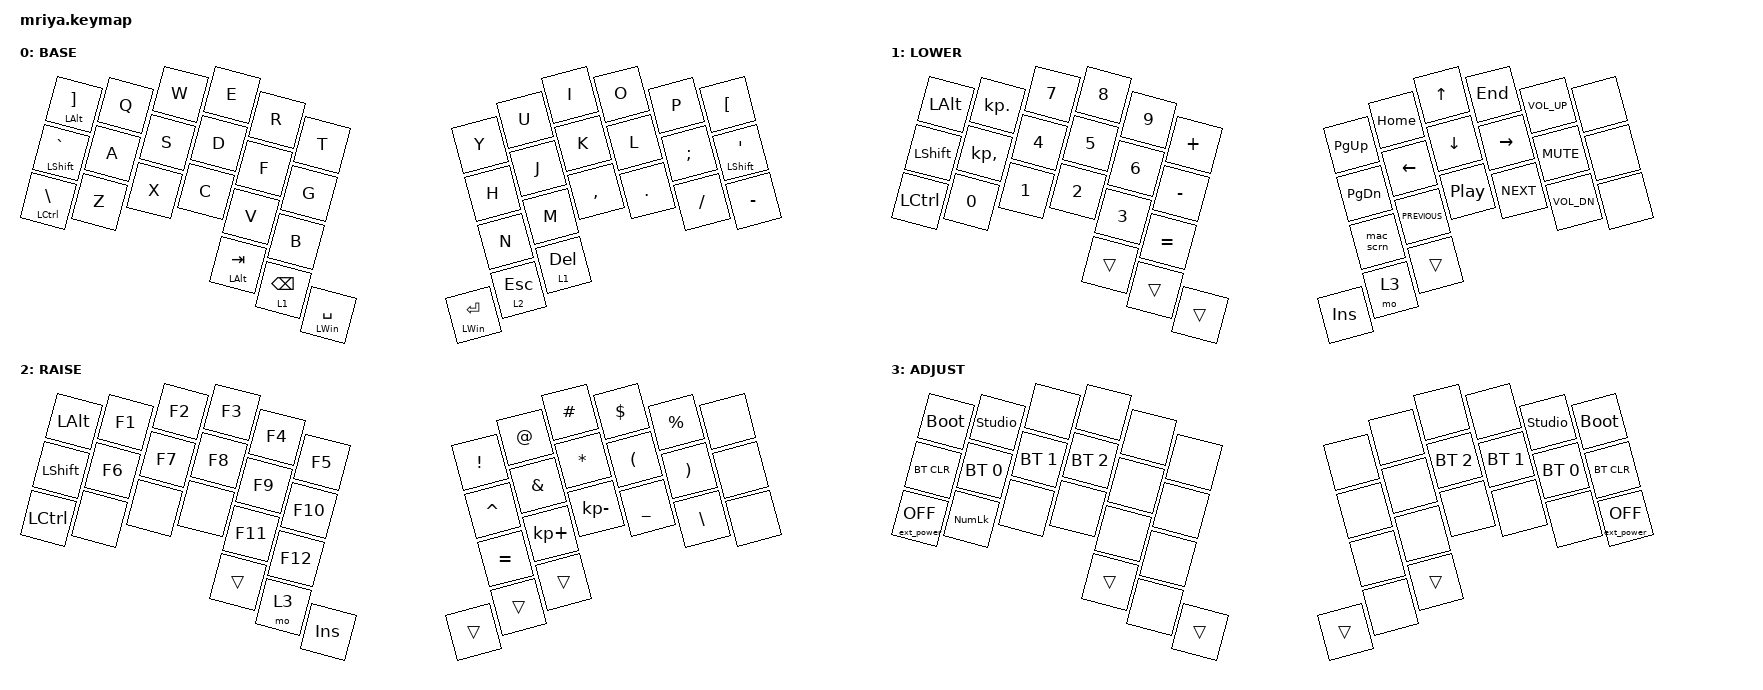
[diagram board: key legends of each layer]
/*
 * Copyright (c) 2020 The ZMK Contributors
 *
 * SPDX-License-Identifier: MIT
 */

#include <behaviors.dtsi>
#include <dt-bindings/zmk/bt.h>
#include <dt-bindings/zmk/ext_power.h>
#include <dt-bindings/zmk/keys.h>

#define BASE   0
#define LOWER  1
#define RAISE  2
#define ADJUST 3

&lt { quick_tap_ms = <220>; };

&mt { quick_tap_ms = <220>; };

/ {
    macros {
        numdot: numdot {
            label = "ZM_numdot";
            compatible = "zmk,behavior-macro";
            #binding-cells = <0>;
            wait-ms = <40>;
            tap-ms = <40>;
            bindings =
                <&macro_press>,
                <&kp LALT>,
                <&macro_tap>,
                <&kp KP_N4 &kp KP_N6>,
                <&macro_release>,
                <&kp LALT>;
        };

        grtsgn: grtsgn {
            label = "ZM_grtsgn";
            compatible = "zmk,behavior-macro";
            #binding-cells = <0>;
            wait-ms = <40>;
            tap-ms = <40>;
            bindings =
                <&macro_press>,
                <&kp LALT>,
                <&macro_tap>,
                <&kp KP_N6 &kp KP_N2>,
                <&macro_release>,
                <&kp LALT>;
        };

        mac_scrn: mac_scrn {
            compatible = "zmk,behavior-macro";
            #binding-cells = <0>;
            bindings =
                <&macro_press>,
                <&kp LS(LEFT_COMMAND)>,
                <&macro_press>,
                <&kp NUMBER_4>,
                <&macro_release>,
                <&kp LS(LEFT_COMMAND)>;

            label = "MAC_SCRN";
        };
    };
};

/ {
    keymap {
        compatible = "zmk,keymap";

        // ▄▄▄▄▄▄▄▄▄▄▄▄▄▄▄▄▄▄▄▄▄▄▄▄▄▄▄▄▄▄▄▄▄▄▄▄▄▄▄▄▄▄▄▄▄▄▄▄▄▄▄▄▄▄▄▄▄▄▄▄▄▄▄▄▄▄▄▄▄▄▄▄▄▄▄▄▄▄▄▄▄▄▄▄▄▄▄▄▄▄▄▄▄▄▄▄▄▄▄▄▄▄▄▄▄▄▄▄▄▄▄▄▄▄

        base_layer {
            // ┌────────────────────────────────────────────┐

            label = "BASE";

            // └────────────────────────────────────────────┘
            /*
┌───────┬───────┬───────┬───────┬───────┬───────┐                   ┌───────┬───────┬───────┬───────┬───────┬───────┐
│ LGUI/]│   Q   │   W   │   E   │   R   │   T   │                   │   Y   │   U   │   I   │   O   │   P   │RGUI/[ │
├───────┼───────┼───────┼───────┼───────┼───────┤                   ├───────┼───────┼───────┼───────┼───────┼───────┤                      
│ CTRL/`│   A   │   S   │   D   │   F   │   G   │                   │   H   │   J   │   K   │   L   │   ;   │RCTRL/'│
├───────┼───────┼───────┼───────┼───────┼───────┤                   ├───────┼───────┼───────┼───────┼───────┼───────┤
│ LALT/\│   Z   │   X   │   C   │   V   │   B   │                   │   N   │   M   │   ,   │   .   │   /   │RALT/- │
└───────┴───────┴───────┴───────┼───────┼───────┼───────┐   ┌───────┼───────┼───────┼───────┴───────┴───────┴───────┘
                                │ RAISE │ SPACE │ LOWER │   │ LOWER │  BKSP │ RAISE │
                                └───────┴───────┴───────┘   └───────┴───────┴───────┘   
*/

            bindings = <
&mt LEFT_ALT RBKT      &kp Q  &kp W  &kp E  &kp R             &kp T                                                    &kp Y         &kp U         &kp I      &kp O    &kp P     &kp LEFT_BRACKET
&mt LEFT_SHIFT GRAVE   &kp A  &kp S  &kp D  &kp F             &kp G                                                    &kp H         &kp J         &kp K      &kp L    &kp SEMI  &mt LEFT_SHIFT SQT
&mt LEFT_CONTROL BSLH  &kp Z  &kp X  &kp C  &kp V             &kp B                                                    &kp N         &kp M         &kp COMMA  &kp DOT  &kp FSLH  &kp MINUS
                                            &mt LEFT_ALT TAB  &lt 1 BACKSPACE  &mt LEFT_WIN SPACE  &mt LEFT_WIN ENTER  &lt 2 ESCAPE  &lt 1 DELETE
            >;
        };

        // ▄▄▄▄▄▄▄▄▄▄▄▄▄▄▄▄▄▄▄▄▄▄▄▄▄▄▄▄▄▄▄▄▄▄▄▄▄▄▄▄▄▄▄▄▄▄▄▄▄▄▄▄▄▄▄▄▄▄▄▄▄▄▄▄▄▄▄▄▄▄▄▄▄▄▄▄▄▄▄▄▄▄▄▄▄▄▄▄▄▄▄▄▄▄▄▄▄▄▄▄▄▄▄▄▄▄▄▄▄▄▄▄▄▄

        lower_layer {
            // ┌────────────────────────────────────────────┐

            label = "LOWER";

            // └────────────────────────────────────────────┘
            /*
┌───────┬───────┬───────┬───────┬───────┬───────┐                   ┌───────┬───────┬───────┬───────┬───────┬───────┐
│ CAPS  │  F10  │  F9   │  F8   │  F7   │   ~   │                   │   !   │   @   │   #   │   $   │   %   │ RGUI  │
├───────┼───────┼───────┼───────┼───────┼───────┤                   ├───────┼───────┼───────┼───────┼───────┼───────┤                      
│ CTRL  │  F11  │  F3   │  F2   │  F1   │ MENU  │                   │   :   │   ?   │   *   │   (   │   )   │   &   │
├───────┼───────┼───────┼───────┼───────┼───────┤                   ├───────┼───────┼───────┼───────┼───────┼───────┤
│ LALT  │  F12  │  F6   │  F5   │  F4   │ LANG  │                   │   "   │   «   │   »   │   {   │   }   │   ^   │
└───────┴───────┴───────┴───────┼───────┼───────┼───────┐   ┌───────┼───────┼───────┼───────┴───────┴───────┴───────┘
                                │  ADJ  │ LSHFT │   ▼   │   │   ▼   │ RSHFT │  ADJ  │
                                └───────┴───────┴───────┘   └───────┴───────┴───────┘   
*/

            bindings = <
&kp LEFT_ALT      &kp KP_DOT    &kp N7  &kp N8  &kp N9  &kp PLUS                       &kp PG_UP      &kp HOME        &kp UP_ARROW      &kp END          &kp C_VOLUME_UP  &none
&kp LEFT_SHIFT    &kp KP_COMMA  &kp N4  &kp N5  &kp N6  &kp MINUS                      &kp PAGE_DOWN  &kp LEFT_ARROW  &kp DOWN_ARROW    &kp RIGHT_ARROW  &kp C_MUTE       &none
&kp LEFT_CONTROL  &kp N0        &kp N1  &kp N2  &kp N3  &kp EQUAL                      &mac_scrn      &kp C_PREVIOUS  &kp C_PLAY_PAUSE  &kp C_NEXT       &kp C_VOL_DN     &none
                                                &trans  &trans     &trans  &kp INSERT  &mo 3          &trans
            >;
        };

        // ▄▄▄▄▄▄▄▄▄▄▄▄▄▄▄▄▄▄▄▄▄▄▄▄▄▄▄▄▄▄▄▄▄▄▄▄▄▄▄▄▄▄▄▄▄▄▄▄▄▄▄▄▄▄▄▄▄▄▄▄▄▄▄▄▄▄▄▄▄▄▄▄▄▄▄▄▄▄▄▄▄▄▄▄▄▄▄▄▄▄▄▄▄▄▄▄▄▄▄▄▄▄▄▄▄▄▄▄▄▄▄▄▄▄		

        raise_layer {
            // ┌────────────────────────────────────────────┐

            label = "RAISE";

            // └────────────────────────────────────────────┘
            /*
┌───────┬───────┬───────┬───────┬───────┬───────┐                   ┌───────┬───────┬───────┬───────┬───────┬───────┐
│ BKSP  │   *   │   9   │   8   │   7   │   +   │                   │ NEXT  │ HOME  │ PSCRN │ PGUP  │ VOLU  │ RGUI  │
├───────┼───────┼───────┼───────┼───────┼───────┤                   ├───────┼───────┼───────┼───────┼───────┼───────┤                      
│ CTRL  │   /   │   3   │   2   │   1   │   0   │                   │ PLAY  │   ←   │   ↑   │   →   │ VOLD  │ CTRL  │
├───────┼───────┼───────┼───────┼───────┼───────┤                   ├───────┼───────┼───────┼───────┼───────┼───────┤
│ ALT/= │   .   │   6   │   5   │   4   │   -   │                   │ PREV  │  END  │   ↓   │ PGDN  │ MUTE  │ RALT  │
└───────┴───────┴───────┴───────┼───────┼───────┼───────┐   ┌───────┼───────┼───────┼───────┴───────┴───────┴───────┘
                                │   ▲   │ LSHFT │  ADJ  │   │  ADJ  │ RSHFT │   ▲   │
                                └───────┴───────┴───────┘   └───────┴───────┴───────┘  
*/

            bindings = <
&kp LEFT_ALT      &kp F1  &kp F2  &kp F3  &kp F4   &kp F5                       &kp EXCLAMATION  &kp AT_SIGN    &kp HASH      &kp DOLLAR            &kp PERCENT            &none
&kp LEFT_SHIFT    &kp F6  &kp F7  &kp F8  &kp F9   &kp F10                      &kp CARET        &kp AMPERSAND  &kp ASTERISK  &kp LEFT_PARENTHESIS  &kp RIGHT_PARENTHESIS  &none
&kp LEFT_CONTROL  &none   &none   &none   &kp F11  &kp F12                      &kp EQUAL        &kp KP_PLUS    &kp KP_MINUS  &kp UNDER             &kp BACKSLASH          &none
                                          &trans   &mo 3    &kp INSERT  &trans  &trans           &trans
            >;
        };

        // ▄▄▄▄▄▄▄▄▄▄▄▄▄▄▄▄▄▄▄▄▄▄▄▄▄▄▄▄▄▄▄▄▄▄▄▄▄▄▄▄▄▄▄▄▄▄▄▄▄▄▄▄▄▄▄▄▄▄▄▄▄▄▄▄▄▄▄▄▄▄▄▄▄▄▄▄▄▄▄▄▄▄▄▄▄▄▄▄▄▄▄▄▄▄▄▄▄▄▄▄▄▄▄▄▄▄▄▄▄▄▄▄▄▄

        adjust_layer {
            // ┌────────────────────────────────────────────┐

            label = "ADJUST";

            // └────────────────────────────────────────────┘
            /*
┌───────┬───────┬───────┬───────┬───────┬───────┐                   ┌───────┬───────┬───────┬───────┬───────┬───────┐
│ BLDR  │       │       │       │       │BT NEXT│                   │BT NEXT│   ₽   │   €   │       │       │  BLDR │
├───────┼───────┼───────┼───────┼───────┼───────┤                   ├───────┼───────┼───────┼───────┼───────┼───────┤                      
│ BTCLR │  BT0  │  BT1  │  BT2  │  BT3  │  BT4  │                   │  BT4  │  BT3  │  BT2  │  BT1  │  BT0  │ BTCLR │
├───────┼───────┼───────┼───────┼───────┼───────┤                   ├───────┼───────┼───────┼───────┼───────┼───────┤
│ CAPS  │ NUMLK │  INS  │ SLCK  │ PAUSE │BT PREV│                   │BT PREV│ PAUSE │ SLCK  │  INS  │ NUMLK │ CAPS  │
└───────┴───────┴───────┴───────┼───────┼───────┼───────┐   ┌───────┼───────┼───────┼───────┴───────┴───────┴───────┘
                                │   ▲   │ POWER │   ▼   │   │   ▼   │ POWER │   ▲   │
                                └───────┴───────┴───────┘   └───────┴───────┴───────┘
*/

            bindings = <
&bootloader        &studio_unlock  &none         &none         &none   &none                  &none  &none   &none         &none         &studio_unlock  &bootloader
&bt BT_CLR         &bt BT_SEL 0    &bt BT_SEL 1  &bt BT_SEL 2  &none   &none                  &none  &none   &bt BT_SEL 2  &bt BT_SEL 1  &bt BT_SEL 0    &bt BT_CLR
&ext_power EP_OFF  &kp KP_NUM      &none         &none         &none   &none                  &none  &none   &none         &none         &none           &ext_power EP_OFF
                                                               &trans  &none  &trans  &trans  &none  &trans
            >;
        };
    };
};
